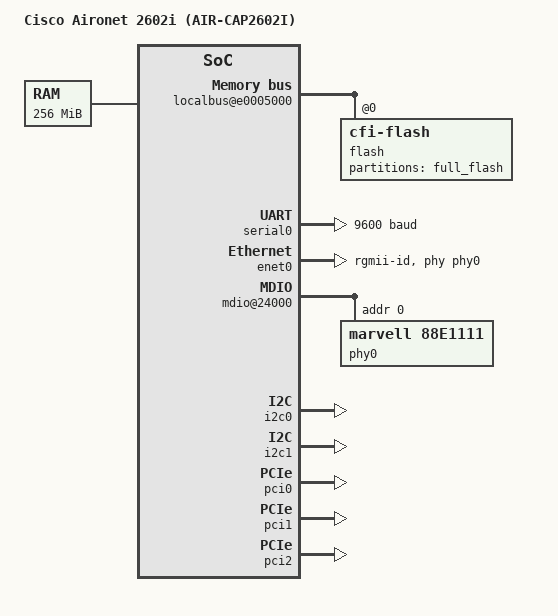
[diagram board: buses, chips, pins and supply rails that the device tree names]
// SPDX-License-Identifier: GPL-2.0-or-later OR AGPL-3.0-or-later
/*
 * EXPLORATORY Device Tree for the Cisco Aironet 2602i (AIR-CAP2602I, board "Tide MB").
 *
 * Derived from cisco-3702i.dts with two changes only:
 *   - 256 MiB RAM instead of 512 MiB
 *   - the NOR flash is exposed as ONE READ-ONLY partition: the 32 MiB chip is almost
 *     completely used by the Cisco flashfs and its layout is not mapped yet, so nothing
 *     may be written to it (no rootfs_data / JFFS2 overlay on this board).
 *
 * Status: OpenWrt 25.12.6 RAM-boots with this tree and the FMan Ethernet driver loads.
 * Radios (11ab:8650, 11ab:8624) are not supported yet. See docs/AP2602_NOTES.md.
 */

/dts-v1/;

/* Secondary-core boot page + ePAPR spin table, installed by boot/smp before the kernel starts. */
/memreserve/ 0x0ff00000 0x00001000;

/ {
	model = "Cisco Aironet 2602i (AIR-CAP2602I)";
	compatible = "cisco,ap2602i", "enterasys,ws-ap3710i", "fsl,P1020RDB", "fsl,P1020";

	#address-cells = <2>;
	#size-cells = <2>;

	aliases {
		serial0 = &serial0;
		ethernet0 = &enet0;
	};

	chosen {
		bootargs = "console=ttyS0,9600 earlyprintk root=/dev/ram0 rw pci=realloc";
		bootargs-override = "console=ttyS0,9600 earlyprintk root=/dev/ram0 rw pci=realloc";
		stdout-path = "/soc@e0000000/serial@4500:9600n8";
	};

	cpus {
		#address-cells = <1>;
		#size-cells = <0>;

		PowerPC,P1020@0 {
			device_type = "cpu";
			reg = <0x0>;
			next-level-cache = <&L2>;
			bus-frequency = <320000000>;
			clock-frequency = <800000000>;
			timebase-frequency = <40000000>;
		};

		PowerPC,P1020@1 {
			device_type = "cpu";
			reg = <0x1>;
			next-level-cache = <&L2>;
			bus-frequency = <320000000>;
			clock-frequency = <800000000>;
			timebase-frequency = <40000000>;
			enable-method = "spin-table";
			cpu-release-addr = <0x0 0x0ff00800>;
		};
	};

	memory@0 {
		device_type = "memory";
		reg = <0x0 0x0 0x0 0x10000000>; // 256MB RAM (AP2602: 188398K/60928K)
	};

	localbus@e0005000 {
		#address-cells = <2>;
		#size-cells = <1>;
		compatible = "fsl,p1020-elbc", "fsl,elbc", "simple-bus";
		reg = <0x0 0xe0005000 0x0 0x1000>;
		status = "okay";

		ranges = <0x0 0x0 0x0 0xe8000000 0x04000000>; // 64MB NOR window (LAW00)

		flash@0 {
			compatible = "cfi-flash";
			reg = <0x0 0x0 0x04000000>; // 64MB Flash
			status = "okay";
			bank-width = <2>;
			device-width = <2>;

			partitions {
				compatible = "fixed-partitions";
				#address-cells = <1>;
				#size-cells = <1>;

				partition@0 {
					label = "full_flash";
					reg = <0x00000000 0x04000000>;
					read-only;
				};
			};
		};
	};

	soc: soc@e0000000 {
		#address-cells = <1>;
		#size-cells = <1>;
		device_type = "soc";
		compatible = "fsl,p1020-immr", "simple-bus";
		ranges = <0x0 0x0 0xe0000000 0x100000>;
		bus-frequency = <320000000>;

		serial0: serial@4500 {
			cell-index = <0>;
			device_type = "serial";
			compatible = "fsl,ns16550", "ns16550";
			reg = <0x4500 0x100>;
			clock-frequency = <320000000>;
			current-speed = <9600>;
			interrupts = <42 2>;
			interrupt-parent = <&mpic>;
		};

		mpic: pic@40000 {
			interrupt-controller;
			#address-cells = <0>;
			#interrupt-cells = <2>;
			reg = <0x40000 0x40000>;
			compatible = "fsl,mpic";
			device_type = "open-pic";
		};

		L2: l2-cache-controller@20000 {
			compatible = "fsl,p1020-l2-cache-controller";
			reg = <0x20000 0x1000>;
			cache-line-size = <32>;
			cache-size = <0x40000>; // 256KB L2
			interrupt-parent = <&mpic>;
			interrupts = <16 2>;
		};

		enet0: ethernet@b0000 {
			#address-cells = <1>;
			#size-cells = <1>;
			device_type = "network";
			model = "eTSEC";
			compatible = "fsl,etsec2";
			reg = <0xb0000 0x1000>;
			status = "okay";
			ranges = <0x0 0xb0000 0x1000>;
			local-mac-address = [ 00 00 00 00 00 00 ];
			phy-handle = <&phy0>;
			phy-connection-type = "rgmii-id";

			queue-group@0 {
				#address-cells = <1>;
				#size-cells = <1>;
				reg = <0xb0000 0x1000>;
				interrupts = <29 2 30 2 34 2>;
				interrupt-parent = <&mpic>;
			};
		};

		mdio@24000 {
			#address-cells = <1>;
			#size-cells = <0>;
			compatible = "fsl,gianfar-mdio";
			reg = <0x24000 0x1000>;

			phy0: ethernet-phy@0 {
				reg = <0x0>;
				compatible = "marvell,88e1111", "ethernet-phy-ieee802.3-c22";
			};
		};

		i2c0: i2c@3000 {
			#address-cells = <1>;
			#size-cells = <0>;
			cell-index = <0>;
			compatible = "fsl-i2c";
			reg = <0x3000 0x100>;
			interrupts = <43 2>;
			interrupt-parent = <&mpic>;
			dfsrr;
		};

		i2c1: i2c@3100 {
			#address-cells = <1>;
			#size-cells = <0>;
			cell-index = <1>;
			compatible = "fsl-i2c";
			reg = <0x3100 0x100>;
			interrupts = <43 2>;
			interrupt-parent = <&mpic>;
			dfsrr;
		};

		gpio0: gpio-controller@fc00 {
			#gpio-cells = <2>;
			compatible = "fsl,pq3-gpio";
			reg = <0xfc00 0x100>;
			interrupts = <47 2>;
			interrupt-parent = <&mpic>;
			gpio-controller;
		};
	};

	pci0: pcie@e0009000 {
		compatible = "fsl,mpc8548-pcie";
		device_type = "pci";
		#address-cells = <3>;
		#size-cells = <2>;
		reg = <0x0 0xe0009000 0x0 0x1000>;
		bus-range = <0 255>;
		clock-frequency = <33333333>;
		interrupt-parent = <&mpic>;
		interrupts = <16 2>;

		ranges = <0x2000000 0x0 0x80000000 0 0x80000000 0x0 0x20000000
			  0x1000000 0x0 0x00000000 0 0xefc10000 0x0 0x10000>;

		pcie@0 {
			reg = <0 0 0 0 0>;
			#interrupt-cells = <1>;
			#size-cells = <2>;
			#address-cells = <3>;
			device_type = "pci";
			interrupts = <16 2>;
			interrupt-map-mask = <0xf800 0 0 7>;
			interrupt-map = <
				0000 0x0 0x0 0x1 &mpic 4 2
				0000 0x0 0x0 0x2 &mpic 5 2
				0000 0x0 0x0 0x3 &mpic 6 2
				0000 0x0 0x0 0x4 &mpic 7 1
			>;
			ranges = <0x2000000 0x0 0x80000000
				  0x2000000 0x0 0x80000000
				  0x0 0x20000000

				  0x1000000 0x0 0x0
				  0x1000000 0x0 0x0
				  0x0 0x100000>;
		};
	};

	pci1: pcie@e000a000 {
		compatible = "fsl,mpc8548-pcie";
		device_type = "pci";
		#address-cells = <3>;
		#size-cells = <2>;
		reg = <0x0 0xe000a000 0x0 0x1000>;
		bus-range = <0 255>;
		clock-frequency = <33333333>;
		interrupt-parent = <&mpic>;
		interrupts = <16 2>;

		ranges = <0x2000000 0x0 0xa0000000 0 0xa0000000 0x0 0x20000000
			  0x1000000 0x0 0x00000000 0 0xefc20000 0x0 0x10000>;

		pcie@0 {
			reg = <0 0 0 0 0>;
			#interrupt-cells = <1>;
			#size-cells = <2>;
			#address-cells = <3>;
			device_type = "pci";
			interrupts = <16 2>;
			interrupt-map-mask = <0xf800 0 0 7>;
			interrupt-map = <
				/* P1023 routing: controller @a000 -> MPIC external IRQ 0..3.
				 * INTA on IRQ 0 verified on hardware (mwl8k); B..D per SoC convention. */
				0000 0x0 0x0 0x1 &mpic 0 2
				0000 0x0 0x0 0x2 &mpic 1 2
				0000 0x0 0x0 0x3 &mpic 2 2
				0000 0x0 0x0 0x4 &mpic 3 2
			>;
			ranges = <0x2000000 0x0 0xa0000000
				  0x2000000 0x0 0xa0000000
				  0x0 0x20000000

				  0x1000000 0x0 0x0
				  0x1000000 0x0 0x0
				  0x0 0x100000>;
		};
	};

	pci2: pcie@e000b000 {
		compatible = "fsl,mpc8548-pcie";
		device_type = "pci";
		#address-cells = <3>;
		#size-cells = <2>;
		reg = <0x0 0xe000b000 0x0 0x1000>;
		bus-range = <0 255>;
		clock-frequency = <33333333>;
		interrupt-parent = <&mpic>;
		interrupts = <16 2>;

		ranges = <0x2000000 0x0 0xc0000000 0 0xc0000000 0x0 0x20000000
			  0x1000000 0x0 0x00000000 0 0xefc30000 0x0 0x10000>;

		pcie@0 {
			reg = <0 0 0 0 0>;
			#interrupt-cells = <1>;
			#size-cells = <2>;
			#address-cells = <3>;
			device_type = "pci";
			interrupts = <16 2>;
			interrupt-map-mask = <0xf800 0 0 7>;
			interrupt-map = <
				0000 0x0 0x0 0x1 &mpic 8 1
				0000 0x0 0x0 0x2 &mpic 9 1
				0000 0x0 0x0 0x3 &mpic 10 1
				0000 0x0 0x0 0x4 &mpic 11 2
			>;
			ranges = <0x2000000 0x0 0xc0000000
				  0x2000000 0x0 0xc0000000
				  0x0 0x20000000

				  0x1000000 0x0 0x0
				  0x1000000 0x0 0x0
				  0x0 0x100000>;
		};
	};
};
